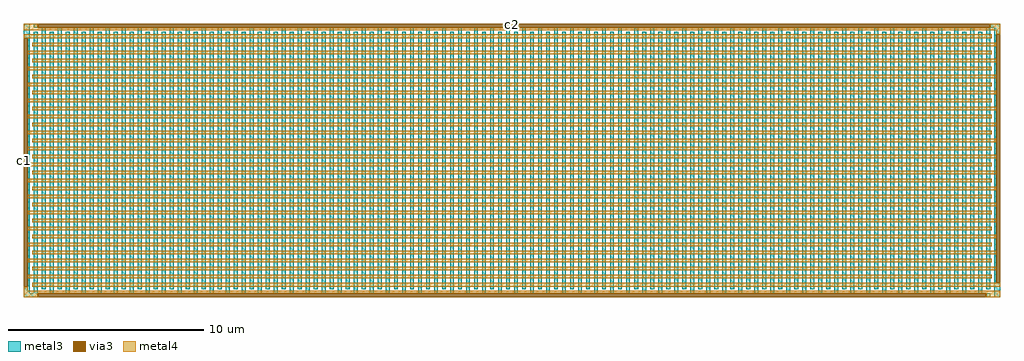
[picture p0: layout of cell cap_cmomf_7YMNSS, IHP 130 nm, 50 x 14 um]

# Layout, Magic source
magic
tech ihp-sg13cmos5l
magscale 1 2
<< metal3 >>
rect 0 2651 59 2800
rect 101 2760 141 2800
rect 9899 2760 10000 2800
rect 40 109 59 2651
rect 0 40 59 109
rect 101 40 141 2718
rect 183 82 223 2760
rect 265 40 305 2718
rect 347 82 387 2760
rect 429 40 469 2718
rect 511 82 551 2760
rect 593 40 633 2718
rect 675 82 715 2760
rect 757 40 797 2718
rect 839 82 879 2760
rect 921 40 961 2718
rect 1003 82 1043 2760
rect 1085 40 1125 2718
rect 1167 82 1207 2760
rect 1249 40 1289 2718
rect 1331 82 1371 2760
rect 1413 40 1453 2718
rect 1495 82 1535 2760
rect 1577 40 1617 2718
rect 1659 82 1699 2760
rect 1741 40 1781 2718
rect 1823 82 1863 2760
rect 1905 40 1945 2718
rect 1987 82 2027 2760
rect 2069 40 2109 2718
rect 2151 82 2191 2760
rect 2233 40 2273 2718
rect 2315 82 2355 2760
rect 2397 40 2437 2718
rect 2479 82 2519 2760
rect 2561 40 2601 2718
rect 2643 82 2683 2760
rect 2725 40 2765 2718
rect 2807 82 2847 2760
rect 2889 40 2929 2718
rect 2971 82 3011 2760
rect 3053 40 3093 2718
rect 3135 82 3175 2760
rect 3217 40 3257 2718
rect 3299 82 3339 2760
rect 3381 40 3421 2718
rect 3463 82 3503 2760
rect 3545 40 3585 2718
rect 3627 82 3667 2760
rect 3709 40 3749 2718
rect 3791 82 3831 2760
rect 3873 40 3913 2718
rect 3955 82 3995 2760
rect 4037 40 4077 2718
rect 4119 82 4159 2760
rect 4201 40 4241 2718
rect 4283 82 4323 2760
rect 4365 40 4405 2718
rect 4447 82 4487 2760
rect 4529 40 4569 2718
rect 4611 82 4651 2760
rect 4693 40 4733 2718
rect 4775 82 4815 2760
rect 4857 40 4897 2718
rect 4939 82 4979 2760
rect 5021 40 5061 2718
rect 5103 82 5143 2760
rect 5185 40 5225 2718
rect 5267 82 5307 2760
rect 5349 40 5389 2718
rect 5431 82 5471 2760
rect 5513 40 5553 2718
rect 5595 82 5635 2760
rect 5677 40 5717 2718
rect 5759 82 5799 2760
rect 5841 40 5881 2718
rect 5923 82 5963 2760
rect 6005 40 6045 2718
rect 6087 82 6127 2760
rect 6169 40 6209 2718
rect 6251 82 6291 2760
rect 6333 40 6373 2718
rect 6415 82 6455 2760
rect 6497 40 6537 2718
rect 6579 82 6619 2760
rect 6661 40 6701 2718
rect 6743 82 6783 2760
rect 6825 40 6865 2718
rect 6907 82 6947 2760
rect 6989 40 7029 2718
rect 7071 82 7111 2760
rect 7153 40 7193 2718
rect 7235 82 7275 2760
rect 7317 40 7357 2718
rect 7399 82 7439 2760
rect 7481 40 7521 2718
rect 7563 82 7603 2760
rect 7645 40 7685 2718
rect 7727 82 7767 2760
rect 7809 40 7849 2718
rect 7891 82 7931 2760
rect 7973 40 8013 2718
rect 8055 82 8095 2760
rect 8137 40 8177 2718
rect 8219 82 8259 2760
rect 8301 40 8341 2718
rect 8383 82 8423 2760
rect 8465 40 8505 2718
rect 8547 82 8587 2760
rect 8629 40 8669 2718
rect 8711 82 8751 2760
rect 8793 40 8833 2718
rect 8875 82 8915 2760
rect 8957 40 8997 2718
rect 9039 82 9079 2760
rect 9121 40 9161 2718
rect 9203 82 9243 2760
rect 9285 40 9325 2718
rect 9367 82 9407 2760
rect 9449 40 9489 2718
rect 9531 82 9571 2760
rect 9613 40 9653 2718
rect 9695 82 9735 2760
rect 9777 40 9817 2718
rect 9859 82 9899 2760
rect 9941 2691 10000 2760
rect 9941 149 9960 2691
rect 0 0 141 40
rect 9859 0 9899 40
rect 9941 0 10000 149
<< via3 >>
rect 141 2760 9899 2800
rect 0 109 40 2651
rect 9960 149 10000 2691
rect 141 0 9859 40
<< metal4 >>
rect 0 2760 141 2800
rect 9899 2760 10000 2800
rect 0 2733 10000 2760
rect 9960 2691 10000 2733
rect 0 2651 9918 2691
rect 82 2569 9960 2609
rect 40 2487 9918 2527
rect 82 2405 9960 2445
rect 40 2323 9918 2363
rect 82 2241 9960 2281
rect 40 2159 9918 2199
rect 82 2077 9960 2117
rect 40 1995 9918 2035
rect 82 1913 9960 1953
rect 40 1831 9918 1871
rect 82 1749 9960 1789
rect 40 1667 9918 1707
rect 82 1585 9960 1625
rect 40 1503 9918 1543
rect 82 1421 9960 1461
rect 40 1339 9918 1379
rect 82 1257 9960 1297
rect 40 1175 9918 1215
rect 82 1093 9960 1133
rect 40 1011 9918 1051
rect 82 929 9960 969
rect 40 847 9918 887
rect 82 765 9960 805
rect 40 683 9918 723
rect 82 601 9960 641
rect 40 519 9918 559
rect 82 437 9960 477
rect 40 355 9918 395
rect 82 273 9960 313
rect 40 191 9918 231
rect 82 109 10000 149
rect 0 67 40 109
rect 0 40 10000 67
rect 0 0 141 40
rect 9859 0 10000 40
<< labels >>
rlabel via3 2 1400 2 1400 0 c1
port 1 nsew
rlabel via3 5000 2798 5000 2798 0 c2
port 2 nsew
<< properties >>
string device csubckt cap_cmomf 0 0 1 1 w=50u l=14u mmin=3 mmax=4 subblock=0 mm_ok=1 c1 0 0 c2 0 0
string FIXED_BBOX 0 0 10000 2800
string gencell cap_cmomf
string library sg13cmos5l
string parameters w 50.00 l 14.00 value 427.000 class capacitor mmin metal3 mmax metal4 square 1 subblock 0 lmin 2.00 wmin 2.00 lmax 100.0 wmax 100.0
<< end >>
